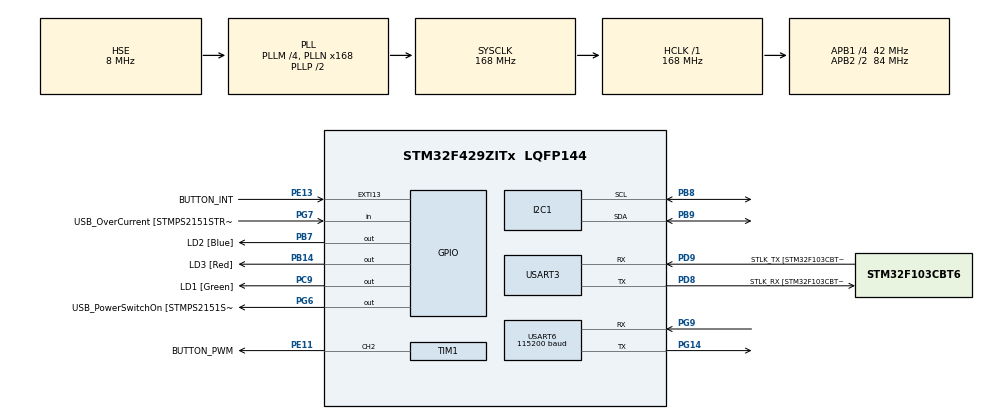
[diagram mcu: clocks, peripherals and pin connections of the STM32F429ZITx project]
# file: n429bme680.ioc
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Mcu.Family=STM32F4
Mcu.Name=STM32F429ZITx
Mcu.Package=LQFP144
NVIC.EXTI15_10_IRQn=true\:3\:0\:true\:false\:true\:true\:true
NVIC.PriorityGroup=NVIC_PRIORITYGROUP_4
NVIC.TIM1_TRG_COM_TIM11_IRQn=true\:0\:0\:false\:false\:true\:true\:true
NVIC.USART3_IRQn=true\:0\:0\:false\:false\:true\:true\:true
NVIC.USART6_IRQn=true\:0\:0\:false\:false\:true\:true\:true
PA1.GPIO_Label=RMII_REF_CLK [LAN8742A-CZ-TR_REFCLK0]
PA1.Signal=ETH_REF_CLK
PA10.GPIO_Label=USB_ID
PA10.Signal=USB_OTG_FS_ID
PA11.GPIO_Label=USB_DM
PA11.Signal=USB_OTG_FS_DM
PA12.GPIO_Label=USB_DP
PA12.Signal=USB_OTG_FS_DP
PA13.GPIO_Label=TMS
PA13.Mode=Serial_Wire
PA13.Signal=SYS_JTMS-SWDIO
PA14.GPIO_Label=TCK
PA14.Mode=Serial_Wire
PA14.Signal=SYS_JTCK-SWCLK
PA2.GPIO_Label=RMII_MDIO [LAN8742A-CZ-TR_MDIO]
PA2.Signal=ETH_MDIO
PA7.GPIO_Label=RMII_CRS_DV [LAN8742A-CZ-TR_CRS_DV]
PA7.Signal=ETH_CRS_DV
PA8.GPIO_Label=USB_SOF [TP1]
PA8.Signal=USB_OTG_FS_SOF
PA9.GPIO_Label=USB_VBUS
PA9.Signal=USB_OTG_FS_VBUS
PB13.GPIO_Label=RMII_TXD1 [LAN8742A-CZ-TR_TXD1]
PB13.Signal=ETH_TXD1
PB14.GPIO_Label=LD3 [Red]
PB14.Signal=GPIO_Output
PB7.GPIO_Label=LD2 [Blue]
PB7.Signal=GPIO_Output
PB8.Mode=I2C
PB8.Signal=I2C1_SCL
PB9.Mode=I2C
PB9.Signal=I2C1_SDA
PC1.GPIO_Label=RMII_MDC [LAN8742A-CZ-TR_MDC]
PC1.Signal=ETH_MDC
PC14/OSC32_IN.Mode=LSE-External-Oscillator
PC14/OSC32_IN.Signal=RCC_OSC32_IN
PC15/OSC32_OUT.Mode=LSE-External-Oscillator
PC15/OSC32_OUT.Signal=RCC_OSC32_OUT
PC4.GPIO_Label=RMII_RXD0 [LAN8742A-CZ-TR_RXD0]
PC4.Signal=ETH_RXD0
PC5.GPIO_Label=RMII_RXD1 [LAN8742A-CZ-TR_RXD1]
PC5.Signal=ETH_RXD1
PC9.GPIO_Label=LD1 [Green]
PC9.Signal=GPIO_Output
PD8.GPIO_Label=STLK_RX [STM32F103CBT6_PA3]
PD8.Mode=Asynchronous
PD8.Signal=USART3_TX
PD9.GPIO_Label=STLK_TX [STM32F103CBT6_PA2]
PD9.Mode=Asynchronous
PD9.Signal=USART3_RX
PE11.GPIO_Label=BUTTON_PWM
PE11.Signal=S_TIM1_CH2
PE13.GPIO_Label=BUTTON_INT
PE13.Signal=GPXTI13
PG11.GPIO_Label=RMII_TX_EN [LAN8742A-CZ-TR_TXEN]
PG11.Signal=ETH_TX_EN
PG13.GPIO_Label=RMII_TXD0 [LAN8742A-CZ-TR_TXD0]
PG13.Signal=ETH_TXD0
PG14.Mode=Asynchronous
PG14.Signal=USART6_TX
PG6.GPIO_Label=USB_PowerSwitchOn [STMPS2151STR_EN]
PG6.Signal=GPIO_Output
PG7.GPIO_Label=USB_OverCurrent [STMPS2151STR_FAULT]
PG7.Signal=GPIO_Input
PG9.Mode=Asynchronous
PG9.Signal=USART6_RX
PH0/OSC_IN.GPIO_Label=MCO [STM32F103CBT6_PA8]
PH0/OSC_IN.Mode=HSE-External-Clock-Source
PH0/OSC_IN.Signal=RCC_OSC_IN
PH1/OSC_OUT.Mode=HSE-External-Clock-Source
PH1/OSC_OUT.Signal=RCC_OSC_OUT
ProjectManager.HeapSize=0x200
ProjectManager.StackSize=0x400
ProjectManager.TargetToolchain=STM32CubeIDE
RCC.48MHZClocksFreq_Value=48000000
RCC.AHBFreq_Value=168000000
RCC.APB1CLKDivider=RCC_HCLK_DIV4
RCC.APB1Freq_Value=42000000
RCC.APB1TimFreq_Value=84000000
RCC.APB2CLKDivider=RCC_HCLK_DIV2
RCC.APB2Freq_Value=84000000
RCC.APB2TimCLKDivider=2
RCC.APB2TimFreq_Value=168000000
RCC.CortexFreq_Value=168000000
RCC.HCLKFreq_Value=168000000
RCC.HSE_VALUE=8000000
RCC.HSI_VALUE=16000000
RCC.PLLM=4
RCC.PLLMUL=RCC_PLL_MUL9
RCC.PLLN=168
RCC.PLLQ=7
RCC.PLLSourceVirtual=RCC_PLLSOURCE_HSE
RCC.PRESCALERUSB=RCC_USBCLKSOURCE_PLL_DIV1_5
RCC.SYSCLKFreq_VALUE=168000000
RCC.SYSCLKSource=RCC_SYSCLKSOURCE_PLLCLK
RCC.SYSCLKSourceVirtual=RCC_SYSCLKSOURCE_PLLCLK
RCC.USBFreq_Value=48000000
RCC.VCOOutputFreq_Value=336000000
SH.S_TIM1_CH2.0=TIM1_CH2,PWM Generation2 CH2
TIM1.Channel-PWM\ Generation2\ CH2=TIM_CHANNEL_2
USART3.VirtualMode=VM_ASYNC
USART6.BaudRate=115200
USART6.VirtualMode=VM_ASYNC
VP_TIM1_VS_ClockSourceINT.Mode=Internal
board=NUCLEO-F429ZI

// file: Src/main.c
/* USER CODE BEGIN Header */
/**
  ******************************************************************************
  * @file           : main.c
  * @brief          : Main program body
  ******************************************************************************
  * @attention
  *
  * <h2><center>&copy; Copyright (c) 2019 STMicroelectronics.
  * All rights reserved.</center></h2>
  *
  * This software component is licensed by ST under BSD 3-Clause license,
  * the "License"; You may not use this file except in compliance with the
  * License. You may obtain a copy of the License at:
  *                        opensource.org/licenses/BSD-3-Clause
  *
  ******************************************************************************
  */
/* USER CODE END Header */

#include "main.h"

/* USER CODE BEGIN Includes */
#include <stdio.h>
#include <stdlib.h>
#include <stdbool.h>
#include <string.h>

#include "debug.h"
#include "ftmq.h"
#include "addresses.h"

#include "ClickEnvironment.h"

/* USER CODE END Includes */

/* USER CODE BEGIN PD */

#define EXIT while(1) {}

/* USER CODE END PD */

I2C_HandleTypeDef hi2c1;

TIM_HandleTypeDef htim1;

UART_HandleTypeDef huart3;
UART_HandleTypeDef huart6;

void SystemClock_Config(void);
static void MX_GPIO_Init(void);
static void MX_I2C1_Init(void);
static void MX_USART3_UART_Init(void);
static void MX_TIM1_Init(void);
static void MX_USART6_UART_Init(void);

/* USER CODE BEGIN 0 */

void HAL_UART_RxCpltCallback(UART_HandleTypeDef *UartHandle){

    if(UartHandle->Instance == UART_FT_INSTANCE)
    {
    	protoFtmqCheck();
    }
}

extern void ledCallback(float value){
  if(value >= 1)
	HAL_GPIO_WritePin(LD2_GPIO_Port, LD2_Pin, GPIO_PIN_SET);
  else
	HAL_GPIO_WritePin(LD2_GPIO_Port, LD2_Pin, GPIO_PIN_RESET);
}

/* USER CODE END 0 */

int main(void)
{

  /* MCU Configuration--------------------------------------------------------*/

  /* Reset of all peripherals, Initializes the Flash interface and the Systick. */
  HAL_Init();

  /* Configure the system clock */
  SystemClock_Config();

  /* Initialize all configured peripherals */
  MX_GPIO_Init();
  MX_I2C1_Init();
  MX_USART3_UART_Init();
  MX_TIM1_Init();
  MX_USART6_UART_Init();

  /* Infinite loop */
  /* USER CODE BEGIN WHILE */

  SERIAL_DEBUG("bme_init\n\r");
  if (!enviroSetup()) {
	SERIAL_DEBUG("Could not find a valid BME680 sensor, check wiring!\n\r");
	EXIT;
  }
  HAL_Delay(1000);
  protoFtmqSetup();
  SERIAL_DEBUG("Beginning\n\r");

  struct ClickEnvironment last_envdata;
  uint32_t count = 0;
  while (1)  {
		struct ClickEnvironment envdata = read_environment();

		if(abs(envdata.temperature - last_envdata.temperature) > 0.05 || count == 10){
			SERIAL_DEBUG_SPRINTF_2("temp: %d\thum: %d\r\n", (int)envdata.temperature, (int)envdata.humidity);
			protoFtmqsend(FTMESSAGE_ADDRESS_ENVIRONMENT_TEMPERATURE, envdata.temperature);
			last_envdata.temperature = envdata.temperature;
			HAL_Delay(100);
		}
		if(abs(envdata.pressure - last_envdata.pressure) > 5 || count == 20){
			protoFtmqsend(FTMESSAGE_ADDRESS_ENVIRONMENT_PRESSURE, (float)envdata.pressure / 100.0f);
			last_envdata.pressure = envdata.pressure;
			HAL_Delay(100);
		}
		if(abs(envdata.humidity - last_envdata.humidity) > 0.05 || count == 30){
			protoFtmqsend(FTMESSAGE_ADDRESS_ENVIRONMENT_HUMIDITY, envdata.humidity);
			last_envdata.humidity = envdata.humidity;
			HAL_Delay(100);
		}
		if(abs(envdata.gas_resistance - last_envdata.gas_resistance) > 500 || count == 40){
			protoFtmqsend(FTMESSAGE_ADDRESS_ENVIRONMENT_VOC, (float)envdata.gas_resistance / 1000.0f);
			last_envdata.gas_resistance = envdata.gas_resistance;
			HAL_Delay(100);
		}
		if (count++ > 40)
			count = 0;
		HAL_GPIO_TogglePin(LD2_GPIO_Port, LD2_Pin);
		HAL_Delay(500);

    /* USER CODE END WHILE */

  }
}

void SystemClock_Config(void)
{
  RCC_OscInitTypeDef RCC_OscInitStruct = {0};
  RCC_ClkInitTypeDef RCC_ClkInitStruct = {0};

  /** Configure the main internal regulator output voltage
  */
  __HAL_RCC_PWR_CLK_ENABLE();
  __HAL_PWR_VOLTAGESCALING_CONFIG(PWR_REGULATOR_VOLTAGE_SCALE1);
  /** Initializes the CPU, AHB and APB busses clocks
  */
  RCC_OscInitStruct.OscillatorType = RCC_OSCILLATORTYPE_HSE;
  RCC_OscInitStruct.HSEState = RCC_HSE_BYPASS;
  RCC_OscInitStruct.PLL.PLLState = RCC_PLL_ON;
  RCC_OscInitStruct.PLL.PLLSource = RCC_PLLSOURCE_HSE;
  RCC_OscInitStruct.PLL.PLLM = 4;
  RCC_OscInitStruct.PLL.PLLN = 168;
  RCC_OscInitStruct.PLL.PLLP = RCC_PLLP_DIV2;
  RCC_OscInitStruct.PLL.PLLQ = 7;
  if (HAL_RCC_OscConfig(&RCC_OscInitStruct) != HAL_OK)
  {
    Error_Handler();
  }
  /** Initializes the CPU, AHB and APB busses clocks
  */
  RCC_ClkInitStruct.ClockType = RCC_CLOCKTYPE_HCLK|RCC_CLOCKTYPE_SYSCLK
                              |RCC_CLOCKTYPE_PCLK1|RCC_CLOCKTYPE_PCLK2;
  RCC_ClkInitStruct.SYSCLKSource = RCC_SYSCLKSOURCE_PLLCLK;
  RCC_ClkInitStruct.AHBCLKDivider = RCC_SYSCLK_DIV1;
  RCC_ClkInitStruct.APB1CLKDivider = RCC_HCLK_DIV4;
  RCC_ClkInitStruct.APB2CLKDivider = RCC_HCLK_DIV2;

  if (HAL_RCC_ClockConfig(&RCC_ClkInitStruct, FLASH_LATENCY_5) != HAL_OK)
  {
    Error_Handler();
  }
}

static void MX_I2C1_Init(void)
{

  hi2c1.Instance = I2C1;
  hi2c1.Init.ClockSpeed = 100000;
  hi2c1.Init.DutyCycle = I2C_DUTYCYCLE_2;
  hi2c1.Init.OwnAddress1 = 0;
  hi2c1.Init.AddressingMode = I2C_ADDRESSINGMODE_7BIT;
  hi2c1.Init.DualAddressMode = I2C_DUALADDRESS_DISABLE;
  hi2c1.Init.OwnAddress2 = 0;
  hi2c1.Init.GeneralCallMode = I2C_GENERALCALL_DISABLE;
  hi2c1.Init.NoStretchMode = I2C_NOSTRETCH_DISABLE;
  if (HAL_I2C_Init(&hi2c1) != HAL_OK)
  {
    Error_Handler();
  }
  /** Configure Analogue filter
  */
  if (HAL_I2CEx_ConfigAnalogFilter(&hi2c1, I2C_ANALOGFILTER_ENABLE) != HAL_OK)
  {
    Error_Handler();
  }
  /** Configure Digital filter
  */
  if (HAL_I2CEx_ConfigDigitalFilter(&hi2c1, 0) != HAL_OK)
  {
    Error_Handler();
  }

}

static void MX_TIM1_Init(void)
{

  TIM_ClockConfigTypeDef sClockSourceConfig = {0};
  TIM_MasterConfigTypeDef sMasterConfig = {0};
  TIM_OC_InitTypeDef sConfigOC = {0};
  TIM_BreakDeadTimeConfigTypeDef sBreakDeadTimeConfig = {0};

  htim1.Instance = TIM1;
  htim1.Init.Prescaler = 0;
  htim1.Init.CounterMode = TIM_COUNTERMODE_UP;
  htim1.Init.Period = 0;
  htim1.Init.ClockDivision = TIM_CLOCKDIVISION_DIV1;
  htim1.Init.RepetitionCounter = 0;
  htim1.Init.AutoReloadPreload = TIM_AUTORELOAD_PRELOAD_DISABLE;
  if (HAL_TIM_Base_Init(&htim1) != HAL_OK)
  {
    Error_Handler();
  }
  sClockSourceConfig.ClockSource = TIM_CLOCKSOURCE_INTERNAL;
  if (HAL_TIM_ConfigClockSource(&htim1, &sClockSourceConfig) != HAL_OK)
  {
    Error_Handler();
  }
  if (HAL_TIM_PWM_Init(&htim1) != HAL_OK)
  {
    Error_Handler();
  }
  sMasterConfig.MasterOutputTrigger = TIM_TRGO_RESET;
  sMasterConfig.MasterSlaveMode = TIM_MASTERSLAVEMODE_DISABLE;
  if (HAL_TIMEx_MasterConfigSynchronization(&htim1, &sMasterConfig) != HAL_OK)
  {
    Error_Handler();
  }
  sConfigOC.OCMode = TIM_OCMODE_PWM1;
  sConfigOC.Pulse = 0;
  sConfigOC.OCPolarity = TIM_OCPOLARITY_HIGH;
  sConfigOC.OCNPolarity = TIM_OCNPOLARITY_HIGH;
  sConfigOC.OCFastMode = TIM_OCFAST_DISABLE;
  sConfigOC.OCIdleState = TIM_OCIDLESTATE_RESET;
  sConfigOC.OCNIdleState = TIM_OCNIDLESTATE_RESET;
  if (HAL_TIM_PWM_ConfigChannel(&htim1, &sConfigOC, TIM_CHANNEL_2) != HAL_OK)
  {
    Error_Handler();
  }
  sBreakDeadTimeConfig.OffStateRunMode = TIM_OSSR_DISABLE;
  sBreakDeadTimeConfig.OffStateIDLEMode = TIM_OSSI_DISABLE;
  sBreakDeadTimeConfig.LockLevel = TIM_LOCKLEVEL_OFF;
  sBreakDeadTimeConfig.DeadTime = 0;
  sBreakDeadTimeConfig.BreakState = TIM_BREAK_DISABLE;
  sBreakDeadTimeConfig.BreakPolarity = TIM_BREAKPOLARITY_HIGH;
  sBreakDeadTimeConfig.AutomaticOutput = TIM_AUTOMATICOUTPUT_DISABLE;
  if (HAL_TIMEx_ConfigBreakDeadTime(&htim1, &sBreakDeadTimeConfig) != HAL_OK)
  {
    Error_Handler();
  }
  HAL_TIM_MspPostInit(&htim1);

}

static void MX_USART3_UART_Init(void)
{

  huart3.Instance = USART3;
  huart3.Init.BaudRate = 115200;
  huart3.Init.WordLength = UART_WORDLENGTH_8B;
  huart3.Init.StopBits = UART_STOPBITS_1;
  huart3.Init.Parity = UART_PARITY_NONE;
  huart3.Init.Mode = UART_MODE_TX_RX;
  huart3.Init.HwFlowCtl = UART_HWCONTROL_NONE;
  huart3.Init.OverSampling = UART_OVERSAMPLING_16;
  if (HAL_UART_Init(&huart3) != HAL_OK)
  {
    Error_Handler();
  }

}

static void MX_USART6_UART_Init(void)
{

  huart6.Instance = USART6;
  huart6.Init.BaudRate = 115200;
  huart6.Init.WordLength = UART_WORDLENGTH_8B;
  huart6.Init.StopBits = UART_STOPBITS_1;
  huart6.Init.Parity = UART_PARITY_NONE;
  huart6.Init.Mode = UART_MODE_TX_RX;
  huart6.Init.HwFlowCtl = UART_HWCONTROL_NONE;
  huart6.Init.OverSampling = UART_OVERSAMPLING_16;
  if (HAL_UART_Init(&huart6) != HAL_OK)
  {
    Error_Handler();
  }

}

static void MX_GPIO_Init(void)
{
  GPIO_InitTypeDef GPIO_InitStruct = {0};

  /* GPIO Ports Clock Enable */
  __HAL_RCC_GPIOC_CLK_ENABLE();
  __HAL_RCC_GPIOH_CLK_ENABLE();
  __HAL_RCC_GPIOA_CLK_ENABLE();
  __HAL_RCC_GPIOE_CLK_ENABLE();
  __HAL_RCC_GPIOB_CLK_ENABLE();
  __HAL_RCC_GPIOD_CLK_ENABLE();
  __HAL_RCC_GPIOG_CLK_ENABLE();

  /*Configure GPIO pin Output Level */
  HAL_GPIO_WritePin(GPIOB, LD3_Pin|LD2_Pin, GPIO_PIN_RESET);

  /*Configure GPIO pin Output Level */
  HAL_GPIO_WritePin(USB_PowerSwitchOn_GPIO_Port, USB_PowerSwitchOn_Pin, GPIO_PIN_RESET);

  /*Configure GPIO pin Output Level */
  HAL_GPIO_WritePin(LD1_GPIO_Port, LD1_Pin, GPIO_PIN_RESET);

  /*Configure GPIO pins : RMII_MDC_Pin RMII_RXD0_Pin RMII_RXD1_Pin */
  GPIO_InitStruct.Pin = RMII_MDC_Pin|RMII_RXD0_Pin|RMII_RXD1_Pin;
  GPIO_InitStruct.Mode = GPIO_MODE_AF_PP;
  GPIO_InitStruct.Pull = GPIO_NOPULL;
  GPIO_InitStruct.Speed = GPIO_SPEED_FREQ_VERY_HIGH;
  GPIO_InitStruct.Alternate = GPIO_AF11_ETH;
  HAL_GPIO_Init(GPIOC, &GPIO_InitStruct);

  /*Configure GPIO pins : RMII_REF_CLK_Pin RMII_MDIO_Pin RMII_CRS_DV_Pin */
  GPIO_InitStruct.Pin = RMII_REF_CLK_Pin|RMII_MDIO_Pin|RMII_CRS_DV_Pin;
  GPIO_InitStruct.Mode = GPIO_MODE_AF_PP;
  GPIO_InitStruct.Pull = GPIO_NOPULL;
  GPIO_InitStruct.Speed = GPIO_SPEED_FREQ_VERY_HIGH;
  GPIO_InitStruct.Alternate = GPIO_AF11_ETH;
  HAL_GPIO_Init(GPIOA, &GPIO_InitStruct);

  /*Configure GPIO pin : BUTTON_INT_Pin */
  GPIO_InitStruct.Pin = BUTTON_INT_Pin;
  GPIO_InitStruct.Mode = GPIO_MODE_IT_RISING;
  GPIO_InitStruct.Pull = GPIO_NOPULL;
  HAL_GPIO_Init(BUTTON_INT_GPIO_Port, &GPIO_InitStruct);

  /*Configure GPIO pin : RMII_TXD1_Pin */
  GPIO_InitStruct.Pin = RMII_TXD1_Pin;
  GPIO_InitStruct.Mode = GPIO_MODE_AF_PP;
  GPIO_InitStruct.Pull = GPIO_NOPULL;
  GPIO_InitStruct.Speed = GPIO_SPEED_FREQ_VERY_HIGH;
  GPIO_InitStruct.Alternate = GPIO_AF11_ETH;
  HAL_GPIO_Init(RMII_TXD1_GPIO_Port, &GPIO_InitStruct);

  /*Configure GPIO pins : LD3_Pin LD2_Pin */
  GPIO_InitStruct.Pin = LD3_Pin|LD2_Pin;
  GPIO_InitStruct.Mode = GPIO_MODE_OUTPUT_PP;
  GPIO_InitStruct.Pull = GPIO_NOPULL;
  GPIO_InitStruct.Speed = GPIO_SPEED_FREQ_LOW;
  HAL_GPIO_Init(GPIOB, &GPIO_InitStruct);

  /*Configure GPIO pin : USB_PowerSwitchOn_Pin */
  GPIO_InitStruct.Pin = USB_PowerSwitchOn_Pin;
  GPIO_InitStruct.Mode = GPIO_MODE_OUTPUT_PP;
  GPIO_InitStruct.Pull = GPIO_NOPULL;
  GPIO_InitStruct.Speed = GPIO_SPEED_FREQ_LOW;
  HAL_GPIO_Init(USB_PowerSwitchOn_GPIO_Port, &GPIO_InitStruct);

  /*Configure GPIO pin : USB_OverCurrent_Pin */
  GPIO_InitStruct.Pin = USB_OverCurrent_Pin;
  GPIO_InitStruct.Mode = GPIO_MODE_INPUT;
  GPIO_InitStruct.Pull = GPIO_NOPULL;
  HAL_GPIO_Init(USB_OverCurrent_GPIO_Port, &GPIO_InitStruct);

  /*Configure GPIO pin : LD1_Pin */
  GPIO_InitStruct.Pin = LD1_Pin;
  GPIO_InitStruct.Mode = GPIO_MODE_OUTPUT_PP;
  GPIO_InitStruct.Pull = GPIO_NOPULL;
  GPIO_InitStruct.Speed = GPIO_SPEED_FREQ_LOW;
  HAL_GPIO_Init(LD1_GPIO_Port, &GPIO_InitStruct);

  /*Configure GPIO pins : USB_SOF_Pin USB_ID_Pin USB_DM_Pin USB_DP_Pin */
  GPIO_InitStruct.Pin = USB_SOF_Pin|USB_ID_Pin|USB_DM_Pin|USB_DP_Pin;
  GPIO_InitStruct.Mode = GPIO_MODE_AF_PP;
  GPIO_InitStruct.Pull = GPIO_NOPULL;
  GPIO_InitStruct.Speed = GPIO_SPEED_FREQ_VERY_HIGH;
  GPIO_InitStruct.Alternate = GPIO_AF10_OTG_FS;
  HAL_GPIO_Init(GPIOA, &GPIO_InitStruct);

  /*Configure GPIO pin : USB_VBUS_Pin */
  GPIO_InitStruct.Pin = USB_VBUS_Pin;
  GPIO_InitStruct.Mode = GPIO_MODE_INPUT;
  GPIO_InitStruct.Pull = GPIO_NOPULL;
  HAL_GPIO_Init(USB_VBUS_GPIO_Port, &GPIO_InitStruct);

  /*Configure GPIO pins : RMII_TX_EN_Pin RMII_TXD0_Pin */
  GPIO_InitStruct.Pin = RMII_TX_EN_Pin|RMII_TXD0_Pin;
  GPIO_InitStruct.Mode = GPIO_MODE_AF_PP;
  GPIO_InitStruct.Pull = GPIO_NOPULL;
  GPIO_InitStruct.Speed = GPIO_SPEED_FREQ_VERY_HIGH;
  GPIO_InitStruct.Alternate = GPIO_AF11_ETH;
  HAL_GPIO_Init(GPIOG, &GPIO_InitStruct);

  /* EXTI interrupt init*/
  HAL_NVIC_SetPriority(EXTI15_10_IRQn, 3, 0);
  HAL_NVIC_EnableIRQ(EXTI15_10_IRQn);

}

void Error_Handler(void)
{
}

/************************ (C) COPYRIGHT STMicroelectronics *****END OF FILE****/
